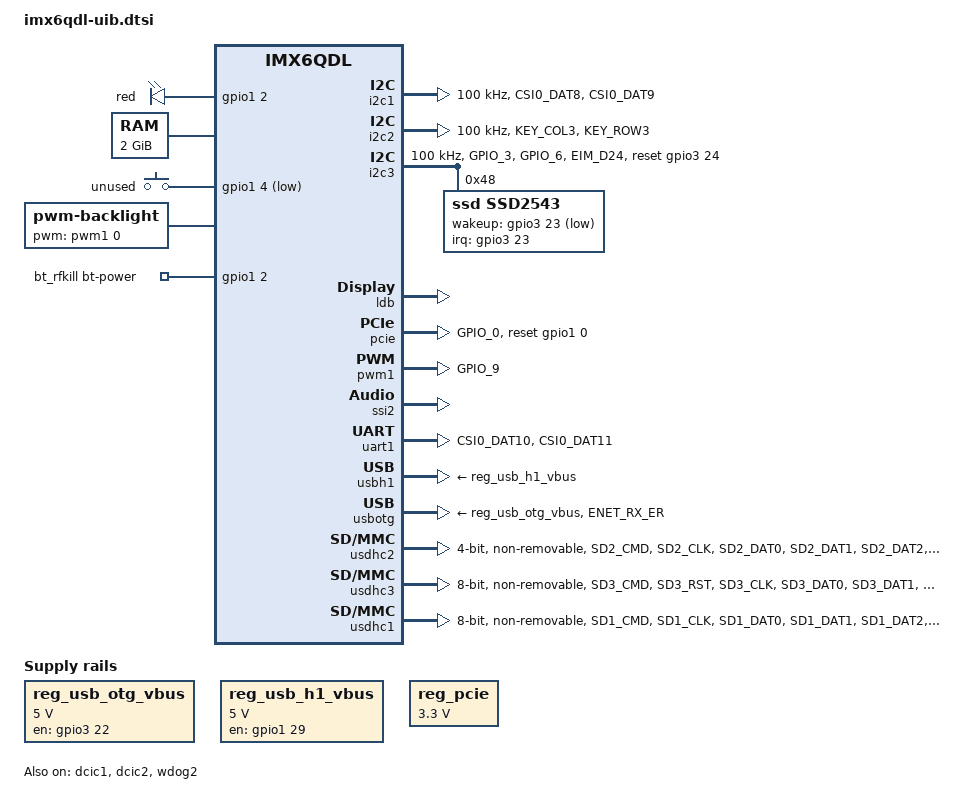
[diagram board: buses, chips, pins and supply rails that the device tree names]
/*
 * Copyright 2012 Freescale Semiconductor, Inc.
 * Copyright 2011 Linaro Ltd.
 *
 * The code contained herein is licensed under the GNU General Public
 * License. You may obtain a copy of the GNU General Public License
 * Version 2 or later at the following locations:
 *
 * http://www.opensource.org/licenses/gpl-license.html
 * http://www.gnu.org/copyleft/gpl.html
 */

#include <dt-bindings/input/input.h>

/ {
	aliases {
		stdout-path = &uart1;
		mxcfb0 = &mxcfb1;
                mxcfb1 = &mxcfb2;
                mxcfb2 = &mxcfb3;
                mxcfb3 = &mxcfb4;

	};

	leds {
		compatible = "gpio-leds";
		pinctrl-names = "default";
		pinctrl-0 = <&pinctrl_gpio_leds>;

		red {
		        gpios = <&gpio1 2 0>;
		        default-state = "on";
		};

	};

	memory: memory {
		reg = <0x10000000 0x80000000>;
	};

	regulators {
		compatible = "simple-bus";
		#address-cells = <1>;
		#size-cells = <0>;

		reg_usb_otg_vbus: regulator@0 {
			compatible = "regulator-fixed";
			reg = <0>;
			regulator-name = "usb_otg_vbus";
			regulator-min-microvolt = <5000000>;
			regulator-max-microvolt = <5000000>;
			gpio = <&gpio3 22 0>;
			enable-active-high;
		};

		reg_usb_h1_vbus: regulator@1 {
			compatible = "regulator-fixed";
			reg = <1>;
			regulator-name = "usb_h1_vbus";
			regulator-min-microvolt = <5000000>;
			regulator-max-microvolt = <5000000>;
			gpio = <&gpio1 29 0>;
			enable-active-high;
		};

		reg_pcie: regulator@2 {
			compatible = "regulator-fixed";
			reg = <3>;
			regulator-name = "MPCIE_3V3";
			regulator-min-microvolt = <3300000>;
			regulator-max-microvolt = <3300000>;
			regulator-always-on;
		};

	};

	gpio-keys {
		compatible = "gpio-keys";
		pinctrl-names = "default";
		pinctrl-0 = <&pinctrl_gpio_keys>;

		placeholder {
			label = "unused";
			gpios = <&gpio1 4 GPIO_ACTIVE_LOW>;
			gpio-key,wakeup;
			linux,code = <KEY_VOLUMEUP>;
		};

	};

	mxcfb1: fb@0 {
                compatible = "fsl,mxc_sdc_fb";
                disp_dev = "ldb";
                interface_pix_fmt = "RGB666";
		mode_str ="LDB-WSVGA";
                default_bpp = <16>;
                int_clk = <0>;
                late_init = <0>;
                status = "disabled";
        };

        mxcfb2: fb@1 {
                compatible = "fsl,mxc_sdc_fb";
                disp_dev = "hdmi";
                interface_pix_fmt = "RGB24";
                mode_str ="1920x1080M@60";
                default_bpp = <24>;
                int_clk = <0>;
                late_init = <0>;
                status = "disabled";
        };

        mxcfb3: fb@2 {
                compatible = "fsl,mxc_sdc_fb";
                disp_dev = "lcd";
                interface_pix_fmt = "RGB565";
                mode_str ="CLAA-WVGA";
                default_bpp = <16>;
                int_clk = <0>;
                late_init = <0>;
                status = "disabled";
        };

        mxcfb4: fb@3 {
                compatible = "fsl,mxc_sdc_fb";
                disp_dev = "ldb";
                interface_pix_fmt = "RGB666";
                default_bpp = <16>;
                int_clk = <0>;
                late_init = <0>;
                status = "disabled";
        };


	pwm-backlight {
		compatible = "pwm-backlight";
		pwms = <&pwm1 0 5000000>;
		brightness-levels = <0 4 8 16 32 64 128 248>;
		default-brightness-level = <7>;
		status = "okay";
	};


	v4l2_cap_0 {
		compatible = "fsl,imx6q-v4l2-capture";
		ipu_id = <0>;
		csi_id = <0>;
		mclk_source = <0>;
		status = "okay";
	};

	v4l2_cap_1 {
		compatible = "fsl,imx6q-v4l2-capture";
		ipu_id = <0>;
		csi_id = <1>;
		mclk_source = <0>;
		status = "okay";
	};

	v4l2_out {
		compatible = "fsl,mxc_v4l2_output";
		status = "okay";
	};

	minipcie_ctrl {
		power-on-gpio = <&gpio3 19 0>;
	};

    bt_rfkill {
                compatible = "fsl,mxc_bt_rfkill";
                        bt-power-gpios = <&gpio1 2 0>;
                                status ="okay";
    };

	ramoops_device {
		compatible = "fsl,mxc_ramoops";
		record_size = <524288>; /*512K*/
		console_size = <262144>; /*256K*/
		ftrace_size = <262144>;  /*256K*/
		dump_oops = <1>;
		status = "okay";
	};

	caam_keyblob {
		compatible = "fsl,sec-v4.0-keyblob";
	};

	v4l2_cap_0 {
		compatible = "fsl,imx6q-v4l2-capture";
		ipu_id = <0>;
		csi_id = <0>;
		mclk_source = <0>;
		status = "okay";
	};

	v4l2_cap_1 {
		compatible = "fsl,imx6q-v4l2-capture";
		ipu_id = <0>;
		csi_id = <1>;
		mclk_source = <0>;
		status = "okay";
	};

	v4l2_out {
		compatible = "fsl,mxc_v4l2_output";
		status = "okay";
	};

};

&clks {
	fsl,ldb-di0-parent = <&clks IMX6QDL_CLK_PLL2_PFD0_352M>;
	fsl,ldb-di1-parent = <&clks IMX6QDL_CLK_PLL2_PFD0_352M>;
};

&i2c1 {
	clock-frequency = <100000>;
	pinctrl-names = "default";
	pinctrl-0 = <&pinctrl_i2c1>;
	status = "okay";

};

&i2c2 {
	clock-frequency = <100000>;
	pinctrl-names = "default";
	pinctrl-0 = <&pinctrl_i2c2>;
	status = "okay";
};

&i2c3 {
	clock-frequency = <100000>;
	pinctrl-names = "default";
	pinctrl-0 = <&pinctrl_i2c3>;
	status = "okay";
	reset-gpios = <&gpio3 24 0>;
	reset-active-low;

	
	ssd2543@48 {
		compatible = "ssd,ssd2543";
		reg = <0x48>;
		interrupt-parent = <&gpio3>;
                interrupts = <23 3>;
                wakeup-gpios = <&gpio3 23 GPIO_ACTIVE_LOW>;
	};
};

&iomuxc {
	pinctrl-names = "default";
	pinctrl-0 = <&pinctrl_hog>;

	imx6qdl-sabresd {
		pinctrl_hog: hoggrp {
			fsl,pins = <
				MX6QDL_PAD_EIM_D22__GPIO3_IO22  0x1b0b0
				MX6QDL_PAD_EIM_D30__GPIO3_IO30  0x80000000
				MX6QDL_PAD_EIM_D31__GPIO3_IO31  0x80000000
			>;
		};

		pinctrl_spi1: spi1grp {
			fsl,pins = <
				MX6QDL_PAD_DISP0_DAT20__ECSPI1_SCLK    0x80000000
				MX6QDL_PAD_DISP0_DAT21__ECSPI1_MOSI    0x80000000
				MX6QDL_PAD_DISP0_DAT22__ECSPI1_MISO    0x80000000
				MX6QDL_PAD_DISP0_DAT23__ECSPI1_SS0     0x80000000
				MX6QDL_PAD_DISP0_DAT8__GPIO4_IO29      0x80000000
				MX6QDL_PAD_DISP0_DAT9__GPIO4_IO30      0x80000000
				MX6QDL_PAD_DISP0_DAT20__GPIO5_IO14     0x100b1
				MX6QDL_PAD_DISP0_DAT21__GPIO5_IO15     0x100b1
				MX6QDL_PAD_DISP0_DAT22__GPIO5_IO16     0x100b1
				MX6QDL_PAD_DISP0_DAT23__GPIO5_IO17     0x1b0b0
			>;
		};


		pinctrl_gpio_keys: gpio_keysgrp {
			fsl,pins = <
				MX6QDL_PAD_EIM_DA1__GPIO3_IO01    0x80000000
			        MX6QDL_PAD_EIM_DA2__GPIO3_IO02    0x80000000
				MX6QDL_PAD_EIM_DA3__GPIO3_IO03    0x80000000
				MX6QDL_PAD_EIM_DA4__GPIO3_IO04    0x80000000
				MX6QDL_PAD_EIM_DA5__GPIO3_IO05    0x80000000
				MX6QDL_PAD_EIM_DA6__GPIO3_IO06    0x80000000
				MX6QDL_PAD_EIM_DA7__GPIO3_IO07    0x80000000	
				MX6QDL_PAD_EIM_DA10__GPIO3_IO10   0x80000000
				MX6QDL_PAD_EIM_DA11__GPIO3_IO11   0x80000000
				MX6QDL_PAD_EIM_DA12__GPIO3_IO12   0x80000000
				MX6QDL_PAD_EIM_A16__GPIO2_IO22    0x80000000
				MX6QDL_PAD_EIM_A17__GPIO2_IO21    0x80000000
				MX6QDL_PAD_EIM_A18__GPIO2_IO20    0x80000000
				MX6QDL_PAD_EIM_A19__GPIO2_IO19	  0x80000000
				MX6QDL_PAD_EIM_A20__GPIO2_IO18    0x80000000
				MX6QDL_PAD_EIM_A21__GPIO2_IO17    0x80000000
				MX6QDL_PAD_EIM_A22__GPIO2_IO16    0x80000000
				MX6QDL_PAD_EIM_A23__GPIO6_IO06    0x80000000
				MX6QDL_PAD_EIM_A24__GPIO5_IO04    0x80000000
				MX6QDL_PAD_EIM_EB1__GPIO2_IO29    0x80000000
				MX6QDL_PAD_EIM_EB2__GPIO2_IO30    0x80000000
			>;
		};


		pinctrl_i2c1: i2c1grp {
			fsl,pins = <
				MX6QDL_PAD_CSI0_DAT8__I2C1_SDA		0x4001b8b1
				MX6QDL_PAD_CSI0_DAT9__I2C1_SCL		0x4001b8b1
			>;
		};

		pinctrl_i2c2: i2c2grp {
			fsl,pins = <
				MX6QDL_PAD_KEY_COL3__I2C2_SCL		0x4001b8b1
				MX6QDL_PAD_KEY_ROW3__I2C2_SDA		0x4001b8b1
			 >;
		};

		pinctrl_i2c3: i2c3grp {
			fsl,pins = <
				MX6QDL_PAD_GPIO_3__I2C3_SCL		0x4001b8b1
				MX6QDL_PAD_GPIO_6__I2C3_SDA		0x4001b8b1
				MX6QDL_PAD_EIM_D24__GPIO3_IO24	        0x1b0b0
			>;
		};

		pinctrl_pcie: pciegrp {
			fsl,pins = <
				MX6QDL_PAD_GPIO_0__GPIO1_IO00	0x1b0b0
			>;
		};

		pinctrl_pwm1: pwm1grp {
			fsl,pins = <
				MX6QDL_PAD_GPIO_9__PWM1_OUT		0x1b0b1
			>;
		};

		pinctrl_uart1: uart1grp {
			fsl,pins = <
				MX6QDL_PAD_CSI0_DAT10__UART1_TX_DATA	0x1b0b1
				MX6QDL_PAD_CSI0_DAT11__UART1_RX_DATA	0x1b0b1
			>;
		};

		pinctrl_usbotg: usbotggrp {
			fsl,pins = <
				MX6QDL_PAD_ENET_RX_ER__USB_OTG_ID	0x17059
			>;
		};

		pinctrl_gpio_leds: gpio_leds {
			fsl,pins = <
				MX6QDL_PAD_GPIO_2__GPIO1_IO02 0x1b0b0
			>;
		};

		pinctrl_usdhc2: usdhc2grp {
			fsl,pins = <
				MX6QDL_PAD_SD2_CMD__SD2_CMD		0x17059
				MX6QDL_PAD_SD2_CLK__SD2_CLK		0x10059
				MX6QDL_PAD_SD2_DAT0__SD2_DATA0		0x17059
				MX6QDL_PAD_SD2_DAT1__SD2_DATA1		0x17059
				MX6QDL_PAD_SD2_DAT2__SD2_DATA2		0x17059
				MX6QDL_PAD_SD2_DAT3__SD2_DATA3		0x17059
			>;
		};

		pinctrl_usdhc3: usdhc3grp {
			fsl,pins = <
				MX6QDL_PAD_SD3_CMD__SD3_CMD		0x17059
				MX6QDL_PAD_SD3_RST__SD3_RESET           0x1f071
				MX6QDL_PAD_SD3_CLK__SD3_CLK		0x10059
				MX6QDL_PAD_SD3_DAT0__SD3_DATA0		0x17059
				MX6QDL_PAD_SD3_DAT1__SD3_DATA1		0x17059
				MX6QDL_PAD_SD3_DAT2__SD3_DATA2		0x17059
				MX6QDL_PAD_SD3_DAT3__SD3_DATA3		0x17059
				MX6QDL_PAD_SD3_DAT4__SD3_DATA4		0x17059
				MX6QDL_PAD_SD3_DAT5__SD3_DATA5		0x17059
				MX6QDL_PAD_SD3_DAT6__SD3_DATA6		0x17059
				MX6QDL_PAD_SD3_DAT7__SD3_DATA7		0x17059
			>;
		};

		pinctrl_usdhc1: usdhc1grp {
			fsl,pins = <
				MX6QDL_PAD_SD1_CMD__SD1_CMD		0x17059
				MX6QDL_PAD_SD1_CLK__SD1_CLK		0x10059
				MX6QDL_PAD_SD1_DAT0__SD1_DATA0		0x17059
				MX6QDL_PAD_SD1_DAT1__SD1_DATA1		0x17059
				MX6QDL_PAD_SD1_DAT2__SD1_DATA2		0x17059
				MX6QDL_PAD_SD1_DAT3__SD1_DATA3		0x17059
			>;
		};
		
		pinctrl_gpmi_nand: gpminandgrp {
			fsl,pins = <
				MX6QDL_PAD_NANDF_CLE__NAND_CLE		0xb0b1
				MX6QDL_PAD_NANDF_ALE__NAND_ALE		0xb0b1
				MX6QDL_PAD_NANDF_WP_B__NAND_WP_B	0xb0b1
				MX6QDL_PAD_NANDF_RB0__NAND_READY_B	0xb000
				MX6QDL_PAD_NANDF_CS0__NAND_CE0_B	0xb0b1
				MX6QDL_PAD_NANDF_CS1__NAND_CE1_B	0xb0b1
				MX6QDL_PAD_SD4_CMD__NAND_RE_B		0xb0b1
				MX6QDL_PAD_SD4_CLK__NAND_WE_B		0xb0b1
				MX6QDL_PAD_NANDF_D0__NAND_DATA00	0xb0b1
				MX6QDL_PAD_NANDF_D1__NAND_DATA01	0xb0b1
				MX6QDL_PAD_NANDF_D2__NAND_DATA02	0xb0b1
				MX6QDL_PAD_NANDF_D3__NAND_DATA03	0xb0b1
				MX6QDL_PAD_NANDF_D4__NAND_DATA04	0xb0b1
				MX6QDL_PAD_NANDF_D5__NAND_DATA05	0xb0b1
				MX6QDL_PAD_NANDF_D6__NAND_DATA06	0xb0b1
				MX6QDL_PAD_NANDF_D7__NAND_DATA07	0xb0b1
				MX6QDL_PAD_SD4_DAT0__NAND_DQS		0x00b1
			>;
		};

	};
};

&dcic1 {
	dcic_id = <0>;
	dcic_mux = "dcic-hdmi";
	status = "okay";
};

&dcic2 {
	dcic_id = <1>;
	dcic_mux = "dcic-lvds1";
	status = "okay";
};


&ldb {
	status = "okay";

	lvds-channel@0 {
                fsl,data-mapping = "spwg";
                fsl,data-width = <24>;
		primary;
                status = "okay";

                display-timings {
                        native-mode = <&timing0>;
                        timing0: hsd100pxn1 {
                                clock-frequency = <51200000>;
                                hactive = <1024>;
                                vactive = <600>;
                                hback-porch = <80>;
                                hfront-porch = <80>;
                                vback-porch = <6>;
                                vfront-porch = <6>;
                                hsync-len = <160>;
                                vsync-len = <23>;
				vsync-active = <1>;
				hsync-active = <1>;
                        };
                };
        };

};

&pcie {
	pinctrl-names = "default";
	pinctrl-0 = <&pinctrl_pcie>;
	reset-gpio = <&gpio1 0 0>;
	reset-active-low;
	status = "okay";
};

&pwm1 {
	pinctrl-names = "default";
	pinctrl-0 = <&pinctrl_pwm1>;
	status = "okay";
};

&ssi2 {
	status = "okay";
};

&uart1 {
	pinctrl-names = "default";
	pinctrl-0 = <&pinctrl_uart1>;
	status = "okay";
};


&usbh1 {
	vbus-supply = <&reg_usb_h1_vbus>;
	status = "okay";
};

&usbotg {
	vbus-supply = <&reg_usb_otg_vbus>;
	pinctrl-names = "default";
	pinctrl-0 = <&pinctrl_usbotg>;
	disable-over-current;
	status = "okay";
};

&usdhc2 {
	pinctrl-names = "default";
	pinctrl-0 = <&pinctrl_usdhc2>;
	bus-width = <4>;
	non-removable;
	status = "okay";
};

&usdhc3 {
	pinctrl-names = "default";
	pinctrl-0 = <&pinctrl_usdhc3>;
	bus-width = <8>;
	non-removable;
	status = "okay";
	no-1-8-v;
};

&usdhc1 {
        pinctrl-names = "default";
        pinctrl-0 = <&pinctrl_usdhc1>;
        bus-width = <8>;
        non-removable;
        status = "okay";
        no-1-8-v;
};




&wdog1 {
	status = "disabled";
};

&wdog2 {
	status = "okay";
};
